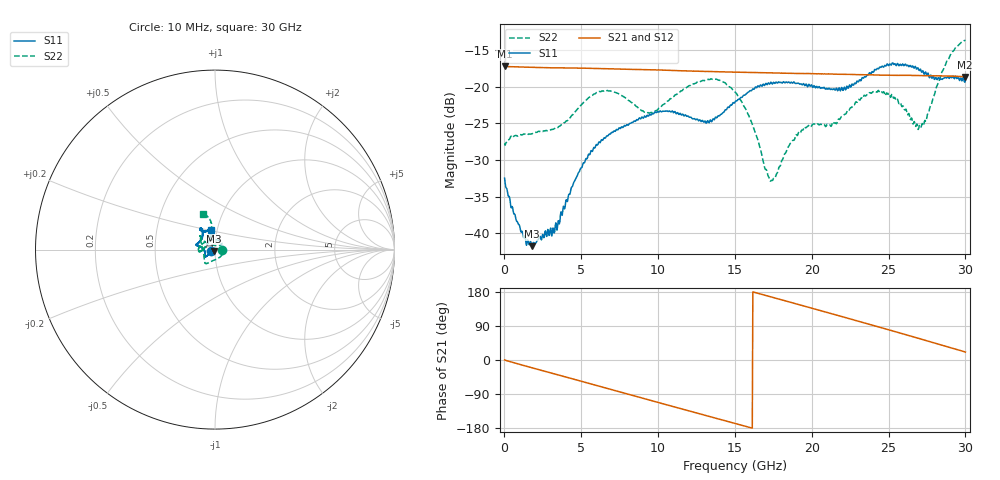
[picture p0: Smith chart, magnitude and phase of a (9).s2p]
! Device:  ADRF5700
! Description: 2 dB LSB, 5-Bit, Silicon Digital Attenuator, 100 MHz to 22 GHz
! Frequency:  10MHz -  30.00 GHz
! Ports:
!  RF1 = Port 1
!  RF2 = Port 2
! VDD  =  +3.30 Volts
! VSS  =  -3.30 Volts
! State:  16.00 dB attenuation
! Data:  Data was collected using an calibrated 4 port network analyzer
!  The reference plane is the edge of the device.
! Notes: Analog Devices supplies this data as a sample of measured data
!  for this product.  Your particular data for this product may vary.
!  Data was taken at 25 degrees C.
!  Analog Devices reserves the right to change this data at anytime.
# GHz S  dB  R 50
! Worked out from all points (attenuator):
!   801 points, 10 MHz to 30 GHz, reference 50 ohm
!   highest |S21| = -17.22 dB at 10 MHz (marker M1); lowest = -18.7 dB at 29.96 GHz (marker M2)
!   lowest |S11| = -41.8 dB at 1.772 GHz (marker M3), VSWR 1.02, Z = 49.6 - j0.696 ohm
!   |S11| at or under -10 dB: start of sweep to end of sweep
!   |S22| runs from -32.9 to -13.7 dB; largest |S21 - S12| = 0.0016
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0.01  -32.49 -162.5  -17.22 0.1  -17.20 0.2  -27.75 -3.8
0.9472  -38.84 -166.5  -17.30 -10.9  -17.27 -11.0  -26.63 -11.8
1.7719  -41.78 -120.5  -17.35 -20.3  -17.32 -20.2  -26.45 -31.9
3.3464  -38.60 -113.0  -17.43 -37.7  -17.39 -37.6  -25.62 -72.5
5.0333  -31.06 -146.5  -17.47 -56.5  -17.43 -56.4  -22.41 -112.9
6.7952  -26.52 -143.7  -17.56 -76.2  -17.52 -76.1  -20.60 -125.7
9.157  -24.06 -142.2  -17.67 -102.5  -17.63 -102.3  -23.47 -161.3
10.0192  -23.46 -144.1  -17.71 -112.2  -17.68 -112.0  -23.01 172.9
13.0931  -24.82 -164.2  -17.92 -146.3  -17.87 -146.0  -19.05 137.8
15.005  -22.12 169.7  -18.02 -167.4  -17.97 -167.1  -20.73 141.4
16.0172  -20.54 168.0  -18.05 -178.7  -18.00 -178.3  -24.54 140.4
17.3292  -19.40 165.7  -18.10 166.7  -18.06 167.1  -32.91 90.9
19.0537  -19.56 163.2  -18.19 147.5  -18.16 147.8  -26.68 40.5
20.0283  -19.94 160.2  -18.21 136.4  -18.18 136.9  -25.21 53.5
22.1276  -20.06 139.5  -18.32 112.7  -18.28 113.2  -23.80 134.3
23.8521  -18.26 124.5  -18.39 93.0  -18.35 93.5  -20.90 175.8
25.0142  -17.12 123.3  -18.44 79.7  -18.40 80.3  -20.92 -173.6
27.076  -17.59 125.3  -18.49 55.6  -18.43 56.2  -25.47 144.9
27.4134  -17.99 122.7  -18.50 51.7  -18.44 52.2  -24.73 126.6
28.8754  -18.63 110.0  -18.53 34.3  -18.50 34.9  -16.30 99.2
29.9625  -19.40 102.5  -18.66 21.6  -18.61 22.1  -13.69 107.8
30  -19.13 101.2  -18.66 21.1  -18.61 21.7  -13.73 108.2
